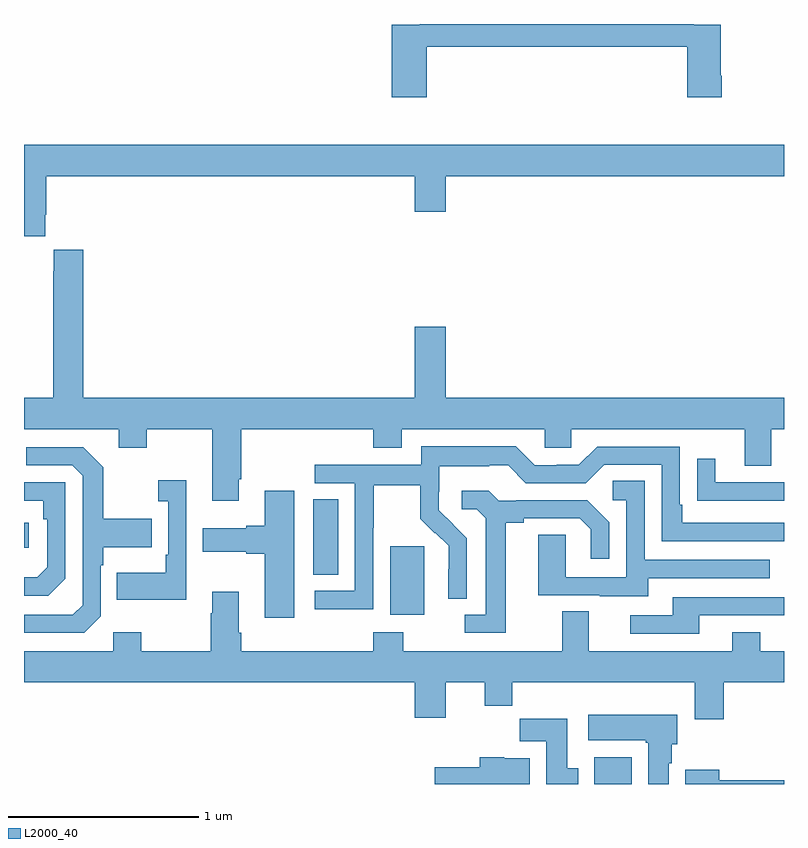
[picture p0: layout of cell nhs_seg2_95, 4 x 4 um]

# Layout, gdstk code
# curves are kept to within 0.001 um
import gdstk
lib = gdstk.Library(unit=1e-6, precision=1e-09)
def R(c, l, rs):  # rectangles x0, y0, x1, y1
    for r in rs: c.add(gdstk.rectangle(r[:2], r[2:], *l))
def P(c, l, *ps):  # polygons
    for p in ps: c.add(gdstk.Polygon(p, *l))
L2000_40 = (2000, 40)

nhs_seg2_95 = lib.new_cell('nhs_seg2_95')
R(nhs_seg2_95, L2000_40, [(118.001,613.8,118.198,613.942), (116.927,614.69,117.106,615.051), (116.522,614.902,116.653,615.299), (115,615.044,115.024,615.174)])
P(nhs_seg2_95, L2000_40, [(117.119,617.68),(118.49,617.68),(118.49,617.415),(118.673,617.415),(118.673,617.527),(118.668,617.527),(118.668,617.796),(118.526,617.796),(118.526,617.8),(117.082,617.8),(117.082,617.796),(116.936,617.796),(116.936,617.415),(117.119,617.415)],
  [(115.111,616.795),(115.118,616.795),(115.118,617),(117.056,617),(117.056,616.812),(117.22,616.812),(117.22,617),(119,617),(119,617.164),(115,617.164),(115,616.683),(115.111,616.683)],
  [(116.131,615.403),(116.144,615.403),(116.144,615.668),(116.837,615.668),(116.837,615.569),(116.989,615.569),(116.989,615.668),(117.741,615.668),(117.741,615.57),(117.879,615.57),(117.879,615.668),(118.793,615.668),(118.793,615.474),(118.933,615.474),(118.933,615.668),(119,615.668),(119,615.832),(117.22,615.832),(117.22,616.207),(117.056,616.207),(117.056,615.832),(115.313,615.832),(115.313,616.612),(115.157,616.612),(115.157,616.499),(115.153,616.499),(115.153,615.832),(115,615.832),(115,615.668),(115.499,615.668),(115.499,615.569),(115.647,615.569),(115.647,615.668),(115.991,615.668),(115.991,615.291),(116.131,615.291)],
  [(116.838,615.148),(116.841,615.148),(116.841,615.372),(117.085,615.372),(117.085,615.197),(117.162,615.12),(117.165,615.123),(117.236,615.053),(117.236,614.93),(117.234,614.93),(117.234,614.776),(117.33,614.776),(117.33,615.094),(117.184,615.242),(117.184,615.339),(117.186,615.339),(117.186,615.473),(117.449,615.473),(117.449,615.477),(117.549,615.477),(117.642,615.384),(117.957,615.384),(118.053,615.48),(118.356,615.48),(118.356,615.078),(119,615.078),(119,615.174),(118.465,615.174),(118.465,615.271),(118.452,615.271),(118.452,615.576),(118.017,615.576),(117.921,615.48),(117.803,615.48),(117.803,615.477),(117.687,615.477),(117.587,615.577),(117.09,615.577),(117.09,615.48),(116.529,615.48),(116.529,615.384),(116.742,615.384),(116.742,614.817),(116.529,614.817),(116.529,614.719),(116.838,614.719)],
  [(115.404,614.682),(115.404,614.951),(115.417,614.951),(115.417,615.047),(115.673,615.047),(115.673,615.195),(115.417,615.195),(115.417,615.467),(115.311,615.573),(115.011,615.573),(115.011,615.477),(115.254,615.477),(115.308,615.423),(115.308,614.742),(115.257,614.691),(115,614.691),(115,614.595),(115.317,614.595)],
  [(119,615.387),(118.639,615.387),(118.639,615.511),(118.543,615.511),(118.543,615.292),(118.645,615.292),(118.645,615.291),(119,615.291)],
  [(115.854,615.4),(115.707,615.4),(115.707,615.287),(115.758,615.287),(115.758,615.007),(115.746,615.007),(115.746,614.911),(115.489,614.911),(115.489,614.771),(115.854,614.771)],
  [(118.285,614.883),(118.925,614.883),(118.925,614.979),(118.266,614.979),(118.266,615.395),(118.098,615.395),(118.098,615.294),(118.17,615.294),(118.17,614.889),(117.852,614.889),(117.852,615.113),(117.707,615.113),(117.707,614.793),(118.031,614.793),(118.031,614.789),(118.285,614.789)],
  [(115.218,614.88),(115.218,615.387),(115,615.387),(115,615.291),(115.102,615.291),(115.102,615.194),(115.122,615.194),(115.122,614.94),(115.069,614.887),(115,614.887),(115,614.79),(115.128,614.79)],
  [(117.535,615.176),(117.631,615.176),(117.631,615.198),(117.926,615.198),(117.983,615.141),(117.983,614.985),(118.08,614.985),(118.08,615.178),(117.964,615.294),(117.592,615.294),(117.592,615.291),(117.498,615.291),(117.446,615.343),(117.303,615.343),(117.303,615.246),(117.384,615.246),(117.431,615.199),(117.431,614.691),(117.321,614.691),(117.321,614.595),(117.535,614.595)],
  [(116.422,615.343),(116.267,615.343),(116.267,615.158),(116.171,615.158),(116.171,615.145),(115.941,615.145),(115.941,615.023),(116.171,615.023),(116.171,615.011),(116.267,615.011),(116.267,614.676),(116.422,614.676)],
  [(118.682,614.336),(119,614.336),(119,614.5),(118.875,614.5),(118.875,614.599),(118.727,614.599),(118.727,614.5),(117.973,614.5),(117.973,614.708),(117.833,614.708),(117.833,614.5),(116.997,614.5),(116.997,614.599),(116.837,614.599),(116.837,614.5),(116.144,614.5),(116.144,614.596),(116.131,614.596),(116.131,614.812),(115.991,614.812),(115.991,614.699),(115.984,614.699),(115.984,614.5),(115.617,614.5),(115.617,614.599),(115.47,614.599),(115.47,614.5),(115,614.5),(115,614.336),(117.056,614.336),(117.056,614.148),(117.22,614.148),(117.22,614.336),(117.425,614.336),(117.425,614.212),(117.569,614.212),(117.569,614.336),(118.529,614.336),(118.529,614.142),(118.682,614.142)],
  [(118.555,614.688),(119,614.688),(119,614.784),(118.415,614.784),(118.415,614.688),(118.191,614.688),(118.191,614.592),(118.555,614.592)],
  [(118.393,613.91),(118.408,613.91),(118.408,614.01),(118.438,614.01),(118.438,614.164),(117.969,614.164),(117.969,614.03),(118.273,614.03),(118.273,614.017),(118.286,614.017),(118.286,613.8),(118.393,613.8)],
  [(117.916,613.884),(117.859,613.884),(117.859,614.143),(117.61,614.143),(117.61,614.024),(117.749,614.024),(117.749,613.8),(117.916,613.8)],
  [(117.661,613.936),(117.528,613.936),(117.528,613.942),(117.398,613.942),(117.398,613.888),(117.162,613.888),(117.162,613.8),(117.661,613.8)],
  [(119,613.82),(118.66,613.82),(118.66,613.876),(118.481,613.876),(118.481,613.8),(119,613.8)])

lib.write_gds('nhs_seg2_95.gds')
